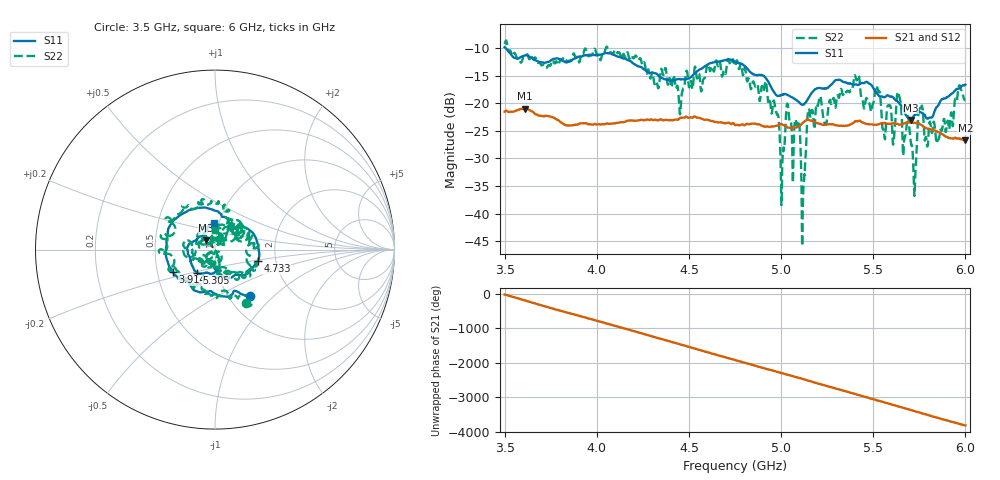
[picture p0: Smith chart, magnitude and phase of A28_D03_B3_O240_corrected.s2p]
! Created with skrf 1.9.0 (http://scikit-rf.org).
# Hz S RI R 50.0
!freq ReS11 ImS11 ReS21 ImS21 ReS12 ImS12 ReS22 ImS22
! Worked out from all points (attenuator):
!   1601 points, 3.5 GHz to 6 GHz, reference 50 ohm
!   highest |S21| = -21.01 dB at 3.611 GHz (marker M1); lowest = -26.7 dB at 6 GHz (marker M2)
!   lowest |S11| = -23.0 dB at 5.703 GHz (marker M3), VSWR 1.15, Z = 45.1 + j4.64 ohm
!   |S11| at or under -10 dB: 3.506 GHz to end of sweep
!   |S22| runs from -45.9 to -8.6 dB; largest |S21 - S12| = 0.001
!   S11 on the Smith chart (normalised r, x): 3.5 GHz: 1.25, -0.72; 3.914 GHz: 0.60, -0.16; 4.733 GHz: 1.61, -0.22; 5.305 GHz: 0.79, -0.21; 6 GHz: 0.94, +0.28
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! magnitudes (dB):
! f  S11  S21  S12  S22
! 3.5 GHz  -9.8  -21.5  -21.5  -9.3
! 3.611 GHz  -11.3  -21.0  -21.0  -11.8
! 3.914 GHz  -11.5  -23.7  -23.6  -11.3
! 3.917 GHz  -11.5  -23.6  -23.6  -11.0
! 4.334 GHz  -15.0  -23.1  -23.0  -17.3
! 4.733 GHz  -12.2  -23.7  -23.7  -12.5
! 4.75 GHz  -12.5  -24.0  -23.9  -13.3
! 4.969 GHz  -18.3  -24.1  -24.1  -21.0
! 5.006 GHz  -18.5  -23.9  -23.8  -31.5
! 5.036 GHz  -18.5  -24.4  -24.3  -20.1
! 5.088 GHz  -19.5  -24.3  -24.3  -23.8
! 5.12 GHz  -20.2  -23.5  -23.4  -36.0
! 5.147 GHz  -19.2  -23.0  -23.0  -21.6
! 5.167 GHz  -18.1  -23.2  -23.2  -21.3
! 5.305 GHz  -15.8  -24.0  -24.0  -18.7
! 5.409 GHz  -16.6  -23.3  -23.2  -15.8
! 5.584 GHz  -18.7  -23.7  -23.7  -20.4
! 5.703 GHz  -23.0  -23.5  -23.5  -26.9
! 5.723 GHz  -22.2  -23.5  -23.5  -36.8
! 5.756 GHz  -21.6  -23.8  -23.8  -21.3
! 5.85 GHz  -20.5  -25.2  -25.1  -26.6
! 6 GHz  -16.6  -26.7  -26.6  -19.4
